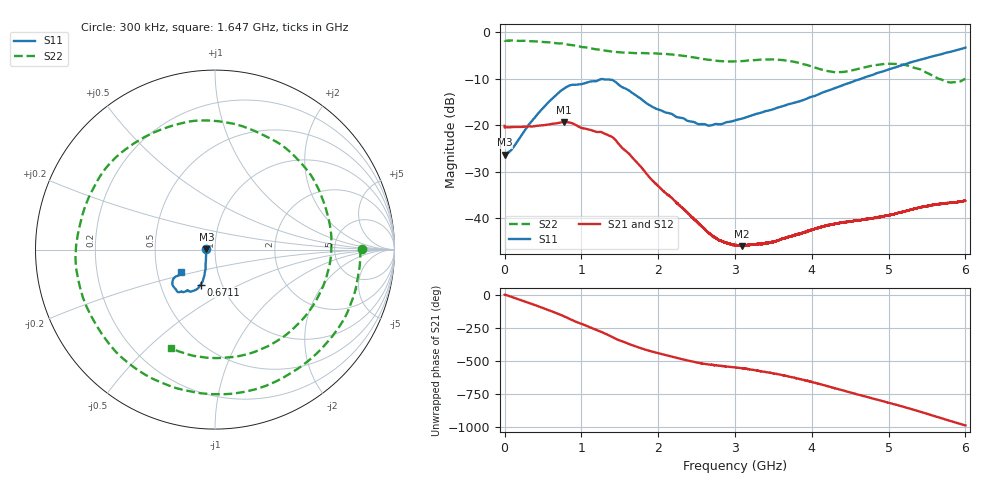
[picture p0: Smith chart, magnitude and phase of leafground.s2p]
!  7/30/2020  14:17:44
! Ref Plane: 0.000 mm
# MHZ S MA R  50
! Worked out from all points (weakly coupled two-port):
!   10001 points, 300 kHz to 6 GHz, reference 50 ohm
!   highest |S21| = -19.28 dB at 770.7 MHz (marker M1); lowest = -46.0 dB at 3.091 GHz (marker M2)
!   lowest |S11| = -26.3 dB at 900 kHz (marker M3), VSWR 1.10, Z = 45.4 + j0.102 ohm
!   |S11| at or under -10 dB: start of sweep to 4.641 GHz
!   |S22| runs from -10.8 to -1.8 dB; largest |S21 - S12| = 0.0023
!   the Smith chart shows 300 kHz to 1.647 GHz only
!   S11 on the Smith chart (normalised r, x): 300 kHz: 0.91, +0.00; 671.1 MHz: 0.79, -0.32; 1.647 GHz: 0.66, -0.18
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0.3  0.04919 177.5  0.09876 -1.1  0.09657 -0.7  0.8166 0.1
0.9  0.04831 178.7  0.09481 -0.3  0.0954 -0.3  0.8111 -0.1
315.2843  0.1016 -121.2  0.09745 -63.9  0.09761 -63.9  0.8053 -93.3
509.6745  0.1562 -112.3  0.1002 -103.8  0.1002 -103.8  0.7831 -149.5
671.0665  0.2112 -112.4  0.1052 -139.6  0.1053 -139.6  0.7631 164.4
770.6615  0.2468 -115.3  0.1086 -164.1  0.1086 -164.1  0.7542 136.2
1000.45  0.277 -124.0  0.09381 138.1  0.09383 138.1  0.6956 70.4
1280.636  0.3135 -132.9  0.08325 71.3  0.08327 71.3  0.642 -10.0
1647.218  0.2269 -146.2  0.04664 -20.3  0.04668 -20.3  0.6009 -114.2
2000.6  0.1483 -132.5  0.02227 -83.8  0.02222 -83.8  0.5898 149.6
2251.987  0.1221 -116.8  0.0145 -121.5  0.01442 -121.6  0.5697 83.6
2531.573  0.1029 -93.5  0.008721 -157.7  0.008726 -157.5  0.5278 7.7
2785.361  0.1028 -68.1  0.005881 -178.0  0.005877 -178.1  0.4911 -65.7
3000.15  0.113 -51.2  0.005143 167.5  0.005183 168.0  0.4869 -129.3
3091.345  0.1177 -44.4  0.005031 161.8  0.005085 161.7  0.4896 -154.9
3526.924  0.1521 -18.9  0.005677 120.4  0.005657 120.4  0.5081 91.7
4000.3  0.203 3.7  0.00759 58.2  0.007507 58.3  0.4281 -29.6
4231.888  0.239 12.5  0.008488 22.3  0.008459 21.9  0.3799 -99.6
4494.675  0.2865 20.4  0.009254 -20.1  0.009258 -20.3  0.3838 177.3
5000.45  0.3987 30.0  0.01084 -99.0  0.0108 -99.0  0.4583 46.2
5515.824  0.534 33.5  0.01357 174.4  0.01362 174.4  0.3617 -78.4
6000  0.6833 29.8  0.0155 89.1  0.01559 88.8  0.3161 122.2
